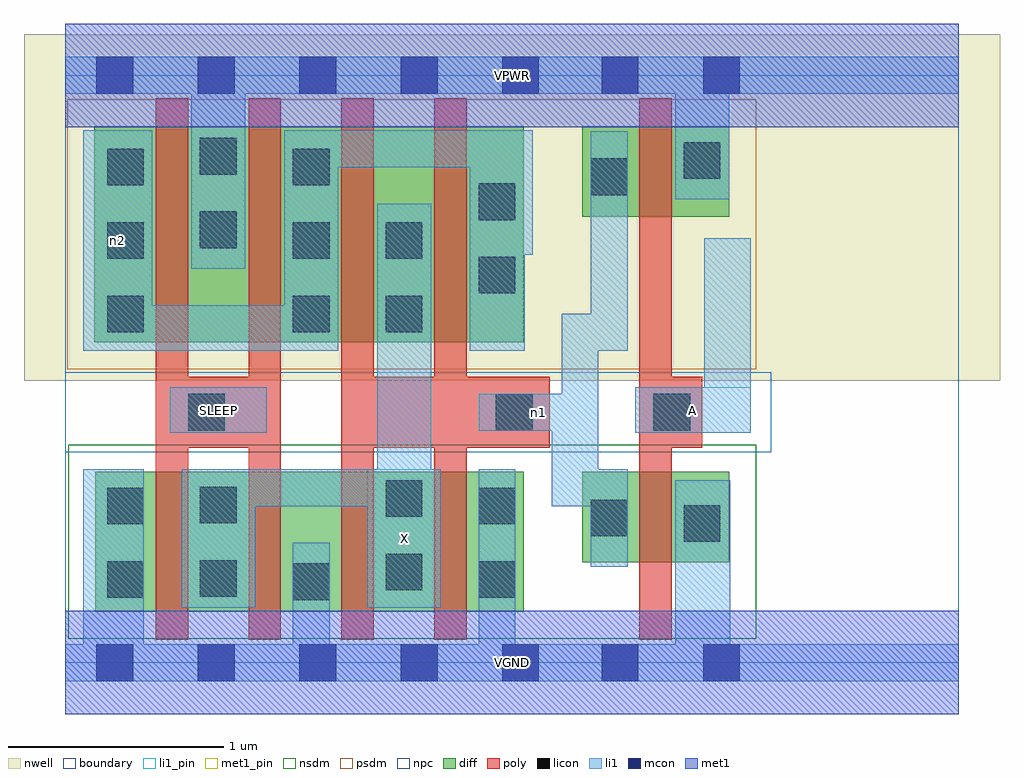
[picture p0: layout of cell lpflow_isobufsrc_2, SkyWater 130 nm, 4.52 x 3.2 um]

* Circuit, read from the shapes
.subckt lpflow_isobufsrc_2 A SLEEP VGND VPWR X n1 n2
XM1 X SLEEP VGND VSUBS sky130_fd_pr__nfet_01v8 w=0.65 l=0.15 m=2
XM2 X n1 VGND VSUBS sky130_fd_pr__nfet_01v8 w=0.65 l=0.15 m=2
XM3 VGND A n1 VSUBS sky130_fd_pr__nfet_01v8 w=0.42 l=0.15
XM4 VPWR SLEEP n2 n3 sky130_fd_pr__pfet_01v8 w=1 l=0.15 m=2
XM5 X n1 n2 n3 sky130_fd_pr__pfet_01v8 w=1 l=0.15 m=2
XM6 VPWR A n1 n3 sky130_fd_pr__pfet_01v8 w=0.42 l=0.15
.ends

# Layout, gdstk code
import gdstk
lib = gdstk.Library(unit=1e-6, precision=1e-09)
def R(c, l, rs):  # rectangles x0, y0, x1, y1
    for r in rs: c.add(gdstk.rectangle(r[:2], r[2:], *l))
def A(c, l, x, y, w, h, nx, ny, dx, dy):  # array of equal rectangles
    R(c, l, [(x+i*dx, y+j*dy, x+i*dx+w, y+j*dy+h) for i in range(nx) for j in range(ny)])
nwell = (64, 20)
diff = (65, 20)
poly = (66, 20)
licon = (66, 44)
li1_pin = (67, 16)
li1 = (67, 20)
mcon = (67, 44)
met1_pin = (68, 16)
met1 = (68, 20)
nsdm = (93, 44)
psdm = (94, 20)
npc = (95, 20)
boundary = (235, 4)

lpflow_isobufsrc_2 = lib.new_cell('lpflow_isobufsrc_2')
R(lpflow_isobufsrc_2, nwell, [(-0.19,1.305,4.33,2.91), (0,1.305,4.14,2.91)])
R(lpflow_isobufsrc_2, diff, [(0.14,0.235,2.125,0.885), (2.395,0.465,3.075,0.885), (0.135,1.485,2.125,2.485), (2.395,2.065,3.075,2.485)])
A(lpflow_isobufsrc_2, poly, 0.42, 0.105, 0.15, 2.51, 4, 1, 0.43, 0)
R(lpflow_isobufsrc_2, poly, [(2.66,0.105,2.81,2.615), (0.42,0.995,1,1.325), (1.28,0.995,2.245,1.325), (2.66,0.995,2.95,1.325)])
A(lpflow_isobufsrc_2, licon, 0.195, 1.53, 0.17, 0.17, 1, 3, 0, 0.34)
A(lpflow_isobufsrc_2, licon, 1.055, 1.53, 0.17, 0.17, 1, 3, 0, 0.34)
R(lpflow_isobufsrc_2, licon, [(1.055,0.29,1.225,0.46), (0.195,0.3,0.365,0.47), (1.915,0.3,2.085,0.47), (0.625,0.305,0.795,0.475), (1.485,0.335,1.655,0.505), (2.865,0.56,3.035,0.73), (2.435,0.585,2.605,0.755), (0.195,0.64,0.365,0.81), (1.915,0.64,2.085,0.81), (0.625,0.645,0.795,0.815), (1.485,0.675,1.655,0.845), (0.57,1.075,0.74,1.245), (1.995,1.075,2.165,1.245), (2.725,1.075,2.895,1.245), (1.485,1.53,1.655,1.7), (1.915,1.71,2.085,1.88), (1.485,1.87,1.655,2.04), (0.625,1.92,0.795,2.09), (1.915,2.05,2.085,2.22), (2.435,2.165,2.605,2.335), (2.865,2.24,3.035,2.41), (0.625,2.26,0.795,2.43)])
R(lpflow_isobufsrc_2, li1_pin, [(1.4,0.255,1.74,0.895), (0.485,1.065,0.935,1.275), (2.64,1.065,3.175,1.275)])
R(lpflow_isobufsrc_2, li1, [(0,-0.085,4.14,0.085), (0.085,-0.085,0.365,0.895), (1.055,-0.085,1.225,0.555), (1.915,-0.085,2.085,0.895), (2.825,-0.085,3.08,0.845), (0.54,0.255,0.88,0.895), (1.4,0.255,1.74,0.895), (1.445,0.255,1.695,2.125), (2.435,0.445,2.605,0.895), (0.54,0.725,1.74,0.895), (2.255,0.725,2.47,1.245), (2.3,0.725,2.47,1.615), (0.485,1.065,0.935,1.275), (2.64,1.065,3.175,1.275), (2.96,1.065,3.175,1.965), (1.915,1.075,2.47,1.245), (0.085,1.445,0.405,2.465), (0.085,1.445,1.265,1.655), (1.015,1.445,1.265,2.465), (1.875,1.445,2.13,2.465), (2.435,1.445,2.605,2.46), (0.585,1.825,0.835,2.805), (1.875,1.89,2.165,2.465), (2.825,2.145,3.075,2.805), (1.015,2.295,2.165,2.465), (0,2.635,4.14,2.805)])
A(lpflow_isobufsrc_2, mcon, 0.145, -0.085, 0.17, 0.17, 5, 2, 0.47, 2.72)
R(lpflow_isobufsrc_2, mcon, [(2.485,-0.085,2.655,0.085), (2.955,-0.085,3.125,0.085), (2.485,2.635,2.655,2.805), (2.955,2.635,3.125,2.805)])
R(lpflow_isobufsrc_2, met1_pin, [(0,-0.24,4.14,0.24), (0,2.48,4.14,2.96)])
R(lpflow_isobufsrc_2, met1, [(0,-0.24,4.14,0.24), (0,2.48,4.14,2.96)])
R(lpflow_isobufsrc_2, nsdm, [(0.015,0.11,3.2,1.01)])
R(lpflow_isobufsrc_2, psdm, [(0.01,1.36,3.2,2.61)])
R(lpflow_isobufsrc_2, npc, [(0,0.975,3.27,1.345)])
R(lpflow_isobufsrc_2, boundary, [(0,0,4.14,2.72)])
lpflow_isobufsrc_2.add(gdstk.Label('A', (2.907,1.17), layer=67, texttype=5))
lpflow_isobufsrc_2.add(gdstk.Label('SLEEP', (0.71,1.17), layer=67, texttype=5))
lpflow_isobufsrc_2.add(gdstk.Label('X', (1.57,0.575), layer=67, texttype=5))
lpflow_isobufsrc_2.add(gdstk.Label('n1', (2.192,1.16), layer=67, texttype=5))
lpflow_isobufsrc_2.add(gdstk.Label('n2', (0.245,1.955), layer=67, texttype=5))
lpflow_isobufsrc_2.add(gdstk.Label('VPWR', (2.07,2.72), layer=68, texttype=5))
lpflow_isobufsrc_2.add(gdstk.Label('VGND', (2.07,0), layer=68, texttype=5))
lpflow_isobufsrc_2.add(gdstk.Label('A', (2.907,1.17), layer=67, texttype=16))
lpflow_isobufsrc_2.add(gdstk.Label('SLEEP', (0.71,1.17), layer=67, texttype=16))
lpflow_isobufsrc_2.add(gdstk.Label('X', (1.57,0.575), layer=67, texttype=16))
lpflow_isobufsrc_2.add(gdstk.Label('VPWR', (2.07,2.72), layer=68, texttype=16))
lpflow_isobufsrc_2.add(gdstk.Label('VGND', (2.07,0), layer=68, texttype=16))

lib.write_gds('lpflow_isobufsrc_2.gds')
